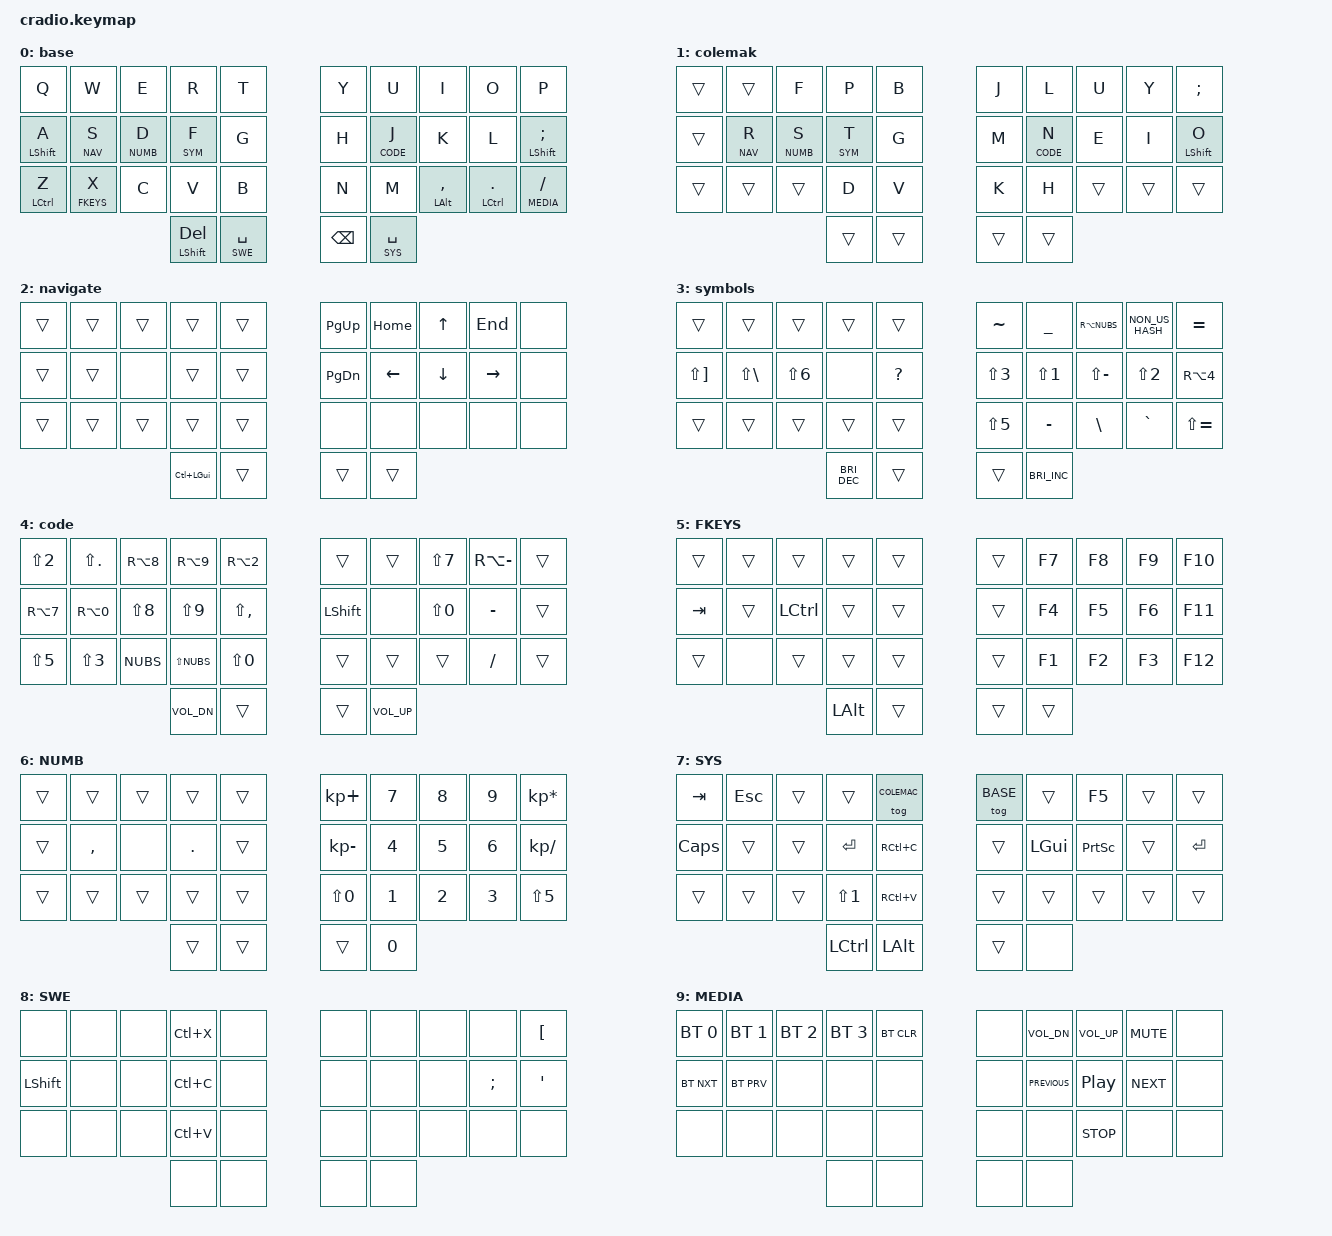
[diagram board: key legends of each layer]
/*
 * Copyright (c) 2020 The ZMK Contributors
 *
 * SPDX-License-Identifier: MIT
 */

#include <behaviors.dtsi>
#include <dt-bindings/zmk/keys.h>
#include <dt-bindings/zmk/bt.h>
//#include "keymap_italian.h"

// Layer definitions
    #define BASE 0
    #define COLEMAC 1
    #define NAV 2
    #define SYM 3
    #define CODE 4
    #define FKEYS 5
		#define NUMB 6
		#define SYS 7
		#define SWE 8
		#define MEDIA 9
// -----------------

&mt {
    flavor = "tap-preferred";
   tapping_term_ms = <200>;
};

// &sk {
//     ignore-modifiers;
// };

/ {
    keymap {
      compatible = "zmk,keymap";
  base {
          bindings = <
          &kp Q               &kp W     &kp E     &kp R     &kp T 					            &kp Y     &kp U     &kp I     &kp O     &kp P 
		      &mt LEFT_SHIFT A    &lt NAV S   &lt NUMB D   &lt SYM F   &kp G 					      &kp H     &lt CODE J   &kp K     &kp L     &mt LEFT_SHIFT SEMICOLON 
		      &mt LCTRL Z         &lt FKEYS X   &kp C     &kp V     &kp B 				          &kp N     &kp M     &mt LEFT_ALT COMMA  &mt LCTRL DOT &lt MEDIA SLASH 
                              &mt LEFT_SHIFT DELETE   &lt SWE SPACE	                    &kp BACKSPACE &lt SYS SPACE
          >;
        };colemak {
          bindings = <
          &trans              &trans    &kp F     &kp P     &kp B                       &kp J     &kp L     &kp U     &kp Y     &kp SEMICOLON 
		      &trans              &lt NAV R   &lt NUMB S   &lt SYM T   &kp G 				        &kp M     &lt CODE N   &kp E     &kp I     &mt LEFT_SHIFT O 
		      &trans              &trans    &trans    &kp D     &kp V 					            &kp K     &kp H     &trans    &trans    &trans 
		  						                                &trans    &trans 				              &trans    &trans
          >;
        };
        // layer2 {
        //   bindings = <
        //   &trans              &kp D     &kp R     &kp W     &kp B                       &kp J     &kp F     &kp U     &kp P     &kp SEMICOLON 
        //   &trans              &trans    &lt 7 H   &lt 4 T   &kp G                       &kp Y     &lt 5 N   &kp E     &kp O     &mt LEFT_SHIFT I 
        //   &trans              &trans    &kp M     &kp C     &kp V                       &kp K     &kp L     &mt LEFT_ALT COMMA  &mt LCTRL DOT &lt 10 SLASH 
        //                                           &trans    &trans                      &trans  &trans
        //   >;
        //};
        navigate {
          bindings = <
          &trans            &trans      &trans    &trans    &trans                      &kp PAGE_UP   &kp HOME &kp UP   &kp END   &none
		      &trans            &trans      &none     &trans    &trans 				              &kp PAGE_DOWN &kp LEFT &kp DOWN &kp RIGHT &none 
		      &trans            &trans      &trans    &trans    &trans 					            &none         &none    &none    &none     &none 
		  					                            &kp LC(LEFT_GUI) &trans 				            &trans      &trans
          >;
        };
        symbols {
          bindings = <
          &trans          &trans        &trans    &trans    &trans                      &kp TILDE     &kp UNDERSCORE    &kp RA(NUBS)   &kp NON_US_HASH    &kp EQUAL 
          &kp LS(RBKT)      &kp LS(BSLH)      &kp LS(N6)    &none     &kp QUESTION        &kp LS(N3)    &kp LS(N1)   &kp LS(MINUS)   &kp LS(N2)         &kp RA(N4)     
          &trans          &trans        &trans    &trans    &trans                      &kp LS(N5)    &kp MINUS    &kp BACKSLASH   &kp GRAVE          &kp LS(EQUAL) 
                                        &kp C_BRIGHTNESS_DEC  &trans                    &trans        &kp C_BRIGHTNESS_INC
          >;
        };
        code {
          bindings = <
          &kp LS(N2)        &kp LS(DOT)     &kp RA(N8)  &kp RA(N9)      &kp RA(N2)                      &trans          &trans  &kp LS(N7)  &kp RA(MINUS)   &trans  
          &kp RA(N7)        &kp RA(N0)      &kp LS(N8)  &kp LS(N9)      &kp LS(COMMA)                   &kp LEFT_SHIFT  &none   &kp LS(N0)  &kp MINUS     &trans        
          &kp LS(N5)        &kp LS(N3)      &kp NUBS    &kp LS(NUBS)    &kp LS(N0)                       &trans          &trans  &trans  &kp SLASH     &trans 
                                                                &kp K_VOL_DN &trans                     &trans          &kp K_VOL_UP
          >;    
        };FKEYS {    
          bindings = <    
          &trans      &trans      &trans            &trans      &trans                  &trans  &kp F7 &kp F8 &kp F9 &kp F10 
          &kp TAB     &trans      &kp LCTRL         &trans      &trans                  &trans  &kp F4 &kp F5 &kp F6 &kp F11 
          &trans      &none       &trans            &trans      &trans                  &trans  &kp F1 &kp F2 &kp F3 &kp F12 
                                                    &kp LEFT_ALT &trans                 &trans &trans
          >;    
        };
        NUMB {    
          bindings = <    
          &trans      &trans      &trans      &trans      &trans                        &kp KP_PLUS     &kp N7    &kp N8    &kp N9    &kp KP_ASTERISK 
          &trans      &kp COMMA   &none       &kp DOT     &trans                        &kp KP_MINUS    &kp N4    &kp N5    &kp N6    &kp KP_SLASH 
          &trans      &trans      &trans      &trans      &trans                        &kp LS(N0)      &kp N1    &kp N2    &kp N3    &kp LS(N5)
                                              &trans      &trans                        &trans          &kp N0
          >;
        };
        SYS {
          bindings = <
          &kp TAB       &kp ESCAPE    &trans    &trans        &tog COLEMAC              &tog BASE   &trans        &kp F5          &trans    &trans 
          &kp CAPSLOCK  &trans        &trans    &kp ENTER     &kp RC(C)                 &trans      &kp LEFT_GUI  &kp PSCRN       &trans    &kp ENTER 
          &trans        &trans        &trans    &kp LS(N1)    &kp RC(V)                 &trans      &trans        &trans          &trans    &trans 
                                                &kp LCTRL &kp LEFT_ALT                  &trans      &none
          >;
        };
         SWE{
          bindings = <
          &none         &none         &none     &kp LC(X)     &none                     &none       &none      &none    &none     &kp LEFT_BRACKET 
          &kp LEFT_SHIFT     &none         &none     &kp LC(C)     &none                &none       &none      &none    &kp SEMI  &kp SINGLE_QUOTE 
          &none         &none         &none     &kp LC(V)     &none                     &none       &none      &none    &none     &none 
                                                        &none &none                     &none &none
          >;
        };
        MEDIA {
          bindings = <
          &bt BT_SEL 0 &bt BT_SEL 1 &bt BT_SEL 2  &bt BT_SEL 3  &bt BT_CLR             &none &kp C_VOL_DN      &kp C_VOL_UP      &kp C_MUTE  &none 
          &bt BT_NXT    &bt BT_PRV    &none         &none       &none                  &none &kp C_PREVIOUS    &kp C_PLAY_PAUSE  &kp C_NEXT  &none 
          &none     &none           &none           &none       &none                  &none &none             &kp C_STOP        &none       &none 
                                                    &none       &none                  &none &none
          >;
        };
    };
};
